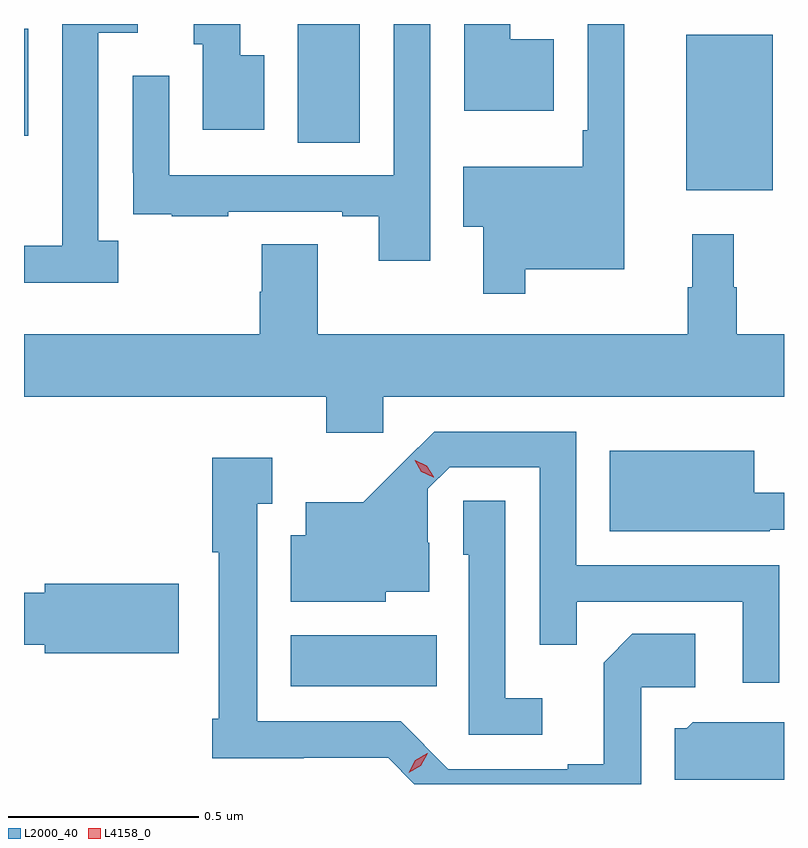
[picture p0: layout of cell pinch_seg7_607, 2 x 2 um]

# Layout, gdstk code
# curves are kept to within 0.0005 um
import gdstk
lib = gdstk.Library(unit=1e-6, precision=1e-09)
def R(c, l, rs):  # rectangles x0, y0, x1, y1
    for r in rs: c.add(gdstk.rectangle(r[:2], r[2:], *l))
def P(c, l, *ps):  # polygons
    for p in ps: c.add(gdstk.Polygon(p, *l))
L2000_40 = (2000, 40)
L4158_0 = (4158, 0)

pinch_seg7_607 = lib.new_cell('pinch_seg7_607')
R(pinch_seg7_607, L2000_40, [(168.23,1057.13,168.614,1057.264), (169.271,1058.435,169.498,1058.845), (168.248,1058.56,168.412,1058.873), (167.528,1058.579,167.539,1058.86)])
P(pinch_seg7_607, L2000_40, [(168.847,1058.228),(169.108,1058.228),(169.108,1058.873),(169.011,1058.873),(169.011,1058.593),(168.999,1058.593),(168.999,1058.497),(168.684,1058.497),(168.684,1058.339),(168.737,1058.339),(168.737,1058.163),(168.847,1058.163)],
  [(168.16,1058.791),(168.097,1058.791),(168.097,1058.873),(167.975,1058.873),(167.975,1058.82),(167.999,1058.82),(167.999,1058.595),(168.16,1058.595)],
  [(168.597,1058.873),(168.501,1058.873),(168.501,1058.475),(167.91,1058.475),(167.91,1058.737),(167.814,1058.737),(167.814,1058.482),(167.815,1058.482),(167.815,1058.373),(167.917,1058.373),(167.917,1058.367),(168.065,1058.367),(168.065,1058.379),(168.365,1058.379),(168.365,1058.367),(168.461,1058.367),(168.461,1058.25),(168.597,1058.25)],
  [(167.776,1058.302),(167.724,1058.302),(167.724,1058.85),(167.827,1058.85),(167.827,1058.873),(167.628,1058.873),(167.628,1058.289),(167.528,1058.289),(167.528,1058.192),(167.776,1058.192)],
  [(168.922,1058.833),(168.808,1058.833),(168.808,1058.873),(168.686,1058.873),(168.686,1058.645),(168.922,1058.645)],
  [(168.474,1057.892),(169.528,1057.892),(169.528,1058.056),(169.403,1058.056),(169.403,1058.18),(169.396,1058.18),(169.396,1058.32),(169.286,1058.32),(169.286,1058.18),(169.275,1058.18),(169.275,1058.056),(168.301,1058.056),(168.301,1058.294),(168.154,1058.294),(168.154,1058.169),(168.149,1058.169),(168.149,1058.056),(167.528,1058.056),(167.528,1057.892),(168.323,1057.892),(168.323,1057.797),(168.474,1057.797)],
  [(169.515,1057.449),(168.981,1057.449),(168.981,1057.8),(168.608,1057.8),(168.421,1057.615),(168.269,1057.615),(168.269,1057.528),(168.23,1057.528),(168.23,1057.352),(168.48,1057.352),(168.48,1057.379),(168.595,1057.379),(168.595,1057.508),(168.591,1057.508),(168.591,1057.65),(168.648,1057.707),(168.885,1057.707),(168.885,1057.24),(168.983,1057.24),(168.983,1057.353),(169.419,1057.353),(169.419,1057.14),(169.515,1057.14)],
  [(169.49,1057.542),(169.528,1057.542),(169.528,1057.639),(169.45,1057.639),(169.45,1057.75),(169.07,1057.75),(169.07,1057.538),(169.49,1057.538)],
  [(169.152,1057.128),(169.294,1057.128),(169.294,1057.268),(169.129,1057.268),(169.053,1057.192),(169.053,1056.925),(168.959,1056.925),(168.959,1056.912),(168.645,1056.912),(168.519,1057.038),(168.142,1057.038),(168.142,1057.611),(168.181,1057.611),(168.181,1057.732),(168.024,1057.732),(168.024,1057.483),(168.041,1057.483),(168.041,1057.045),(168.024,1057.045),(168.024,1056.941),(168.264,1056.941),(168.264,1056.942),(168.486,1056.942),(168.555,1056.873),(169.152,1056.873)],
  [(168.892,1057.099),(168.795,1057.099),(168.795,1057.619),(168.684,1057.619),(168.684,1057.476),(168.699,1057.476),(168.699,1057.002),(168.892,1057.002)],
  [(167.935,1057.4),(167.582,1057.4),(167.582,1057.376),(167.528,1057.376),(167.528,1057.24),(167.582,1057.24),(167.582,1057.217),(167.935,1057.217)],
  [(169.528,1057.035),(169.422,1057.035),(169.422,1057.036),(169.288,1057.036),(169.272,1057.02),(169.241,1057.02),(169.241,1056.884),(169.528,1056.884)])
P(pinch_seg7_607, L4158_0, [(168.605,1057.68),(168.574,1057.695),(168.556,1057.725),(168.556,1057.725),(168.557,1057.725),(168.588,1057.71),(168.606,1057.681),(168.606,1057.68)],
  [(168.54,1056.902),(168.54,1056.903),(168.558,1056.935),(168.589,1056.954),(168.59,1056.954),(168.59,1056.954),(168.572,1056.921),(168.541,1056.902)])

lib.write_gds('pinch_seg7_607.gds')
